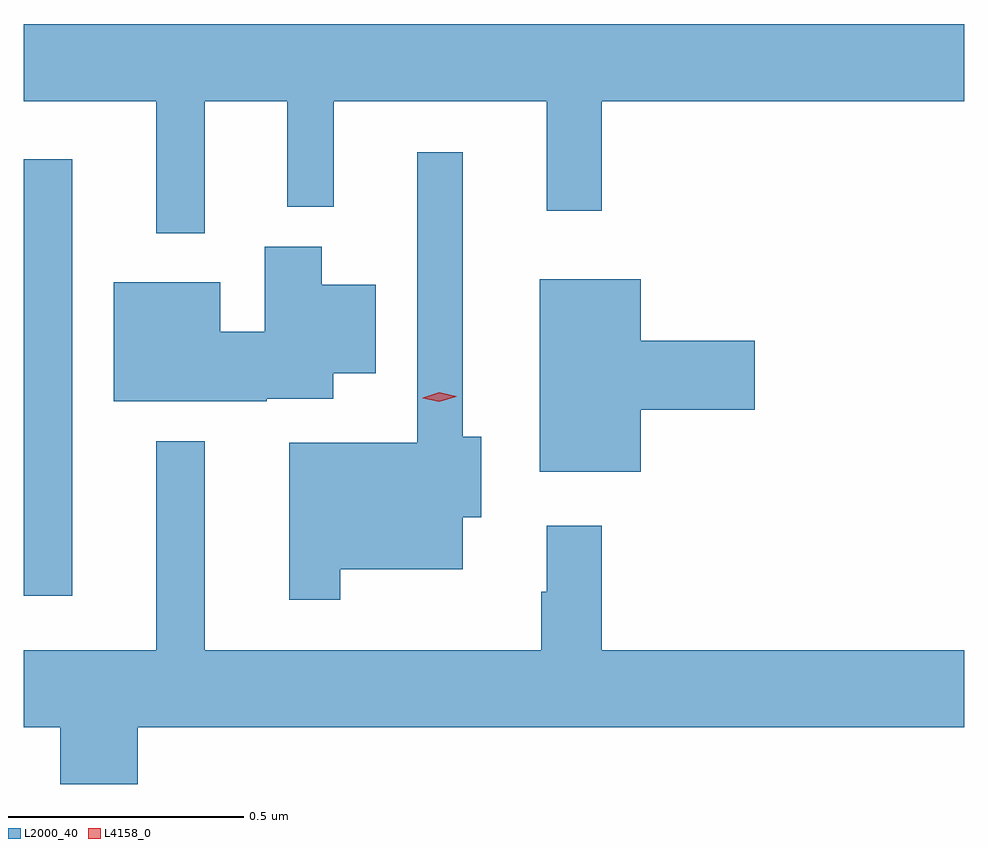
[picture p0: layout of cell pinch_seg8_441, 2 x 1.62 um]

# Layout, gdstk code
import gdstk
lib = gdstk.Library(unit=1e-6, precision=1e-09)
def R(c, l, rs):  # rectangles x0, y0, x1, y1
    for r in rs: c.add(gdstk.rectangle(r[:2], r[2:], *l))
def P(c, l, *ps):  # polygons
    for p in ps: c.add(gdstk.Polygon(p, *l))
L2000_40 = (2000, 40)
L4158_0 = (4158, 0)

pinch_seg8_441 = lib.new_cell('pinch_seg8_441')
R(pinch_seg8_441, L2000_40, [(291.606,1140.755,291.709,1141.684)])
P(pinch_seg8_441, L2000_40, [(291.991,1141.808),(292.166,1141.808),(292.166,1141.583),(292.265,1141.583),(292.265,1141.808),(292.718,1141.808),(292.718,1141.575),(292.835,1141.575),(292.835,1141.808),(293.606,1141.808),(293.606,1141.972),(291.606,1141.972),(291.606,1141.808),(291.887,1141.808),(291.887,1141.527),(291.991,1141.527)],
  [(292.279,1140.812),(292.54,1140.812),(292.54,1140.923),(292.579,1140.923),(292.579,1141.094),(292.54,1141.094),(292.54,1141.699),(292.443,1141.699),(292.443,1141.081),(292.17,1141.081),(292.17,1140.747),(292.279,1140.747)],
  [(292.122,1141.175),(292.264,1141.175),(292.264,1141.229),(292.354,1141.229),(292.354,1141.417),(292.24,1141.417),(292.24,1141.498),(292.118,1141.498),(292.118,1141.317),(292.024,1141.317),(292.024,1141.423),(291.797,1141.423),(291.797,1141.169),(292.122,1141.169)],
  [(292.918,1141.151),(293.161,1141.151),(293.161,1141.298),(292.918,1141.298),(292.918,1141.429),(292.703,1141.429),(292.703,1141.019),(292.918,1141.019)],
  [(291.848,1140.476),(293.606,1140.476),(293.606,1140.64),(292.835,1140.64),(292.835,1140.904),(292.718,1140.904),(292.718,1140.764),(292.707,1140.764),(292.707,1140.64),(291.991,1140.64),(291.991,1141.084),(291.887,1141.084),(291.887,1140.64),(291.606,1140.64),(291.606,1140.476),(291.683,1140.476),(291.683,1140.355),(291.848,1140.355)])
P(pinch_seg8_441, L4158_0, [(292.49,1141.168),(292.454,1141.176),(292.454,1141.177),(292.454,1141.177),(292.49,1141.188),(292.526,1141.18),(292.526,1141.179),(292.526,1141.179)])

lib.write_gds('pinch_seg8_441.gds')
